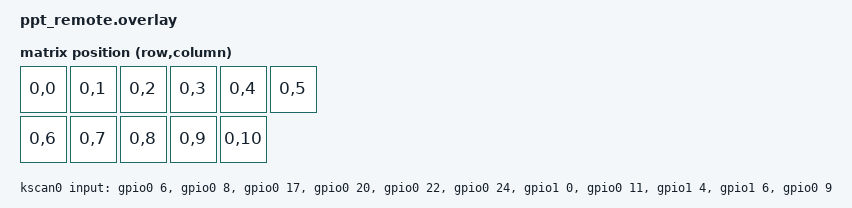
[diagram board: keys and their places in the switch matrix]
/*
 * PPT Remote —— 11 个直连按键的蓝牙遥控器（nice!nano / nRF52840）
 *
 * 硬件接法：每个按键一脚接下面的 IO，另一脚接 GND（所有按键共地）。
 *           用芯片内部上拉，不需要外接电阻，也不需要二极管。
 *
 * 引脚写法和模块丝印的对应关系（&gpio0 6 就是 P0.06）：
 *   SW1  Shift+→   D1  P0.06        SW7  F6       D6  P1.00
 *   SW2  ↑         D0  P0.08        SW8  Shift+←  D7  P0.11
 *   SW3  ↓         D2  P0.17        SW9  ESC      D8  P1.04
 *   SW4  回车      D3  P0.20        SW10 PgUp     D9  P1.06
 *   SW5  [         D4  P0.22        SW11 PgDn     D10 P0.09
 *   SW6  ]         D5  P0.24
 *
 * 注意 D0/D1 是反的：D1 = P0.06，D0 = P0.08；D10 = P0.09（不是 P0.10）。
 */

#include <dt-bindings/zmk/matrix_transform.h>

/ {
    chosen {
        zmk,kscan = &kscan0;
        zmk,physical-layout = &physical_layout0;
    };

    /* 按键扫描：11 个引脚各自接一个按键 */
    kscan0: kscan0 {
        compatible = "zmk,kscan-gpio-direct";
        wakeup-source;
        debounce-press-ms = <5>;
        debounce-release-ms = <5>;

        input-gpios
            = <&gpio0 6  (GPIO_ACTIVE_LOW | GPIO_PULL_UP)>   /* SW1  D1  P0.06  Shift+→ */
            , <&gpio0 8  (GPIO_ACTIVE_LOW | GPIO_PULL_UP)>   /* SW2  D0  P0.08  ↑ */
            , <&gpio0 17 (GPIO_ACTIVE_LOW | GPIO_PULL_UP)>   /* SW3  D2  P0.17  ↓ */
            , <&gpio0 20 (GPIO_ACTIVE_LOW | GPIO_PULL_UP)>   /* SW4  D3  P0.20  回车 */
            , <&gpio0 22 (GPIO_ACTIVE_LOW | GPIO_PULL_UP)>   /* SW5  D4  P0.22  [ */
            , <&gpio0 24 (GPIO_ACTIVE_LOW | GPIO_PULL_UP)>   /* SW6  D5  P0.24  ] */
            , <&gpio1 0  (GPIO_ACTIVE_LOW | GPIO_PULL_UP)>   /* SW7  D6  P1.00  F6 */
            , <&gpio0 11 (GPIO_ACTIVE_LOW | GPIO_PULL_UP)>   /* SW8  D7  P0.11  Shift+← */
            , <&gpio1 4  (GPIO_ACTIVE_LOW | GPIO_PULL_UP)>   /* SW9  D8  P1.04  ESC */
            , <&gpio1 6  (GPIO_ACTIVE_LOW | GPIO_PULL_UP)>   /* SW10 D9  P1.06  PgUp */
            , <&gpio0 9  (GPIO_ACTIVE_LOW | GPIO_PULL_UP)>   /* SW11 D10 P0.09  PgDn */
            ;
    };

    /* 键盘矩阵变换：11 个直连引脚相当于 1 行 11 列，顺序就是上面的顺序 */
    default_transform: keymap_transform0 {
        compatible = "zmk,matrix-transform";
        columns = <11>;
        rows = <1>;
        map = <
            RC(0,0) RC(0,1) RC(0,2) RC(0,3) RC(0,4) RC(0,5)
            RC(0,6) RC(0,7) RC(0,8) RC(0,9) RC(0,10)
        >;
    };

    /* 物理布局（新版 ZMK 必需）：把 kscan 和上面的变换绑在一起 */
    physical_layout0: physical_layout_0 {
        compatible = "zmk,physical-layout";
        display-name = "Default Layout";
        kscan = <&kscan0>;
        transform = <&default_transform>;
    };
};
